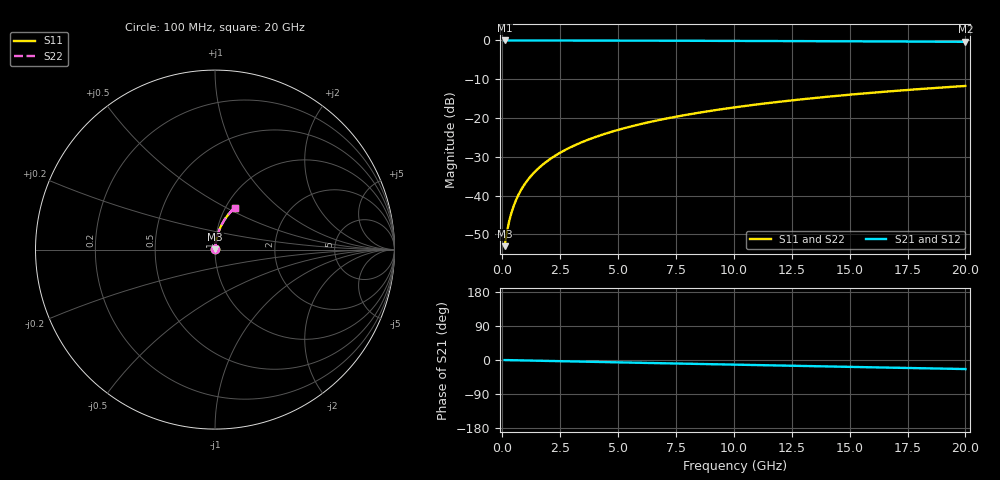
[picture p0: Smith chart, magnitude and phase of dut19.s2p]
! Touchstone file exported from HFSS 2026.1.0
!  File:  C:/ffzhzh/LocalFiles/Ansys_Project_Files/temp_train_TMRDL_19_1782880321_8056.aedt
!  Generated:  12:33:18 PM Jul  1, 2026
!  Design:  TMRDL
!  Project:  temp_train_TMRDL_19_1782880321_8056
! Variables:
!  h_bsmrdl = 2um
!  h_ox = 20um
!  h_rdl = 5um
!  h_sub = 80um
!  h_tmrdl = 4.66um
!  h_tsv = 80um
!  h_via = 3um
!  l_bsmrdl = 300um
!  l_sub = 705.35um
!  l_tmrdl = 305.35um
!  m_sub = 200um
!  pitch = 44.07um
!  r_tsv = 6um
!  s_tmrdl = 10um
!  w_bsmrdl = 18um
!  w_sub = 500um
!  w_tmrdl = 15.24um
!  x_tsv_center1 = 312.97um
!  x_tsv_center2 = 630.97um
!  x_tsv_center3 = 951.56um
!  x_tsv_center4 = 1269.56um
!  x_tsv_center5 = 1590.15um
!  x_tsv_center6 = 1908.15um
# GHz S MA R 50.000000
! Terminal data exported
! Port[1] = TM_RDL1_1_T1
! Port[2] = TM_RDL1_1_T2
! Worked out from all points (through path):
!   200 points, 100 MHz to 20 GHz, reference 50 ohm
!   highest |S21| = -0.01 dB at 100 MHz (marker M1); lowest = -0.4 dB at 20 GHz (marker M2)
!   group delay of S21, straight-line fit = 3.31 ps
!   lowest |S11| = -53.0 dB at 100 MHz (marker M3), VSWR 1.00, Z = 50.2 + j0.151 ohm
!   |S11| at or under -10 dB: start of sweep to end of sweep
!   |S22| runs from -53.0 to -11.7 dB; largest |S21 - S12| = 3.9e-15
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0.1  0.002231 42.4  0.9984 -0.1  0.9984 -0.1  0.002231 42.4
! Gamma 0 0 0 0
! Port Impedance 50 0 50 0
0.2  0.003416 59.9  0.9983 -0.3  0.9983 -0.3  0.003416 59.9
0.3  0.004725 68.0  0.9982 -0.4  0.9982 -0.4  0.004725 68.0
0.4  0.006082 72.6  0.9982 -0.5  0.9982 -0.5  0.006081 72.6
0.5  0.007463 75.5  0.9981 -0.6  0.9981 -0.6  0.007463 75.5
0.6  0.00886 77.5  0.9981 -0.8  0.9981 -0.8  0.00886 77.5
0.8  0.01168 79.9  0.998 -1.0  0.998 -1.0  0.01168 79.9
1.1  0.01593 81.7  0.9979 -1.4  0.9979 -1.4  0.01593 81.7
1.5  0.0216 82.7  0.9977 -1.9  0.9977 -1.9  0.0216 82.7
1.8  0.02585 83.0  0.9975 -2.3  0.9975 -2.3  0.02585 83.0
2.1  0.03008 83.1  0.9973 -2.6  0.9973 -2.6  0.03008 83.1
2.7  0.03851 82.9  0.9968 -3.4  0.9968 -3.4  0.03851 82.9
3.5  0.04966 82.4  0.996 -4.4  0.996 -4.4  0.04966 82.4
4.2  0.05933 81.8  0.9952 -5.2  0.9952 -5.2  0.05933 81.8
5  0.07028 81.0  0.9941 -6.2  0.9941 -6.2  0.07028 81.0
5.9  0.08249 80.0  0.9928 -7.3  0.9928 -7.3  0.08249 80.0
6.8  0.09458 79.1  0.9914 -8.4  0.9914 -8.4  0.09458 79.1
8.3  0.1145 77.4  0.9888 -10.2  0.9888 -10.2  0.1145 77.4
10.1  0.138 75.5  0.9852 -12.4  0.9852 -12.4  0.138 75.5
13.4  0.18 71.8  0.9777 -16.3  0.9777 -16.3  0.18 71.8
16.7  0.2203 68.2  0.9688 -20.1  0.9688 -20.1  0.2203 68.2
20  0.2589 64.5  0.9588 -23.9  0.9588 -23.9  0.2589 64.6
